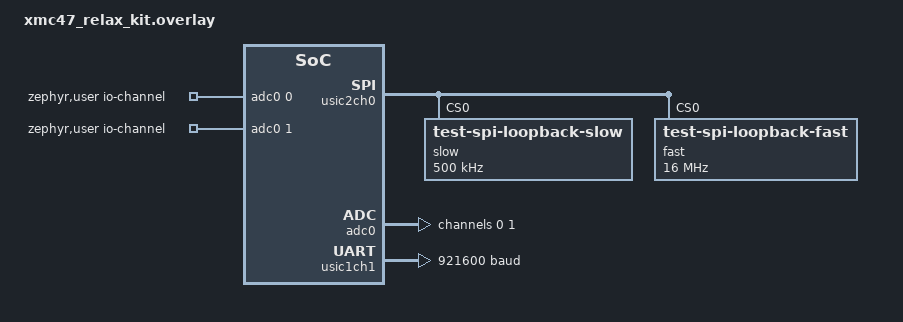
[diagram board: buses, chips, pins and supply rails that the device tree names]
/*
 * Copyright (c) 2025 Andriy Gelman
 *
 * SPDX-License-Identifier: Apache-2.0
 */

tst_dma0: &dma0 {
	status = "okay";
};

&spi_mosi_p3_8_u2c0 {
	drive-strength = "strong-soft-edge";
	drive-push-pull;
	hwctrl = "disabled";
};

&spi_miso_p3_7_u2c0 {
	drive-strength = "strong-soft-edge";
	hwctrl = "disabled";
};

&spi_sclk_p3_9_u2c0 {
	drive-strength = "strong-soft-edge";
	drive-push-pull;
	hwctrl = "disabled";
};

&usic2ch0 {
	compatible = "infineon,xmc4xxx-spi";
	pinctrl-0 = <&spi_mosi_p3_8_u2c0 &spi_miso_p3_7_u2c0 &spi_sclk_p3_9_u2c0>;
	pinctrl-names = "default";
	miso-src = "DX0C";
	interrupts = <96 1>;
	interrupt-names = "rx";
	#address-cells = <1>;
	#size-cells = <0>;
	status = "okay";
	slow@0 {
		compatible = "test-spi-loopback-slow";
		reg = <0>;
		spi-max-frequency = <500000>;
	};
	fast@0 {
		compatible = "test-spi-loopback-fast";
		reg = <0>;
		spi-max-frequency = <16000000>;
	};
};

#include <zephyr/dt-bindings/adc/adc.h>

/ {
	zephyr,user {
		io-channels = <&adc0 0>, <&adc0 1>;
	};
};

&adc0 {
	#address-cells = <1>;
	#size-cells = <0>;
	status = "okay";
	channel@0 {
		reg = <0>;
		zephyr,gain = "ADC_GAIN_1";
		zephyr,reference = "ADC_REF_INTERNAL";
		zephyr,acquisition-time = <ADC_ACQ_TIME_DEFAULT>;
		zephyr,resolution = <12>;
	};
	channel@1 {
		reg = <1>;
		zephyr,gain = "ADC_GAIN_1";
		zephyr,reference = "ADC_REF_INTERNAL";
		zephyr,acquisition-time = <ADC_ACQ_TIME_DEFAULT>;
		zephyr,resolution = <12>;
	};
};

#include <zephyr/dt-bindings/dma/infineon-xmc4xxx-dma.h>

dut: &usic1ch1 {
	compatible = "infineon,xmc4xxx-uart";
	status = "okay";
	/delete-property/ scl-src;
	/delete-property/ sda-src;
	current-speed = <921600>;
	interrupts = <90 1 91 1>;
	interrupt-names = "tx", "rx";
	dmas = <&dma0 2 0 XMC4XXX_SET_CONFIG(1, 11)>, <&dma0 3 0 XMC4XXX_SET_CONFIG(3, 12)>;
	dma-names = "tx", "rx";
	pinctrl-0 = <&uart_tx_p3_15_u1c1 &uart_rx_p3_14_u1c1>;
	pinctrl-names = "default";
	input-src = "DX0G"; //loopback
	fifo-start-offset = <0>;
	fifo-tx-size = <0>;
	fifo-rx-size = <0>;
	data-bits = <8>;
	stop-bits = "1";
};

&uart_tx_p3_15_u1c1 {
	drive-strength = "strong-soft-edge";
	drive-push-pull;
	hwctrl = "disabled";
};

&uart_rx_p3_14_u1c1 {
	drive-strength = "strong-soft-edge";
	hwctrl = "disabled";
};

&dma0 {
	status = "okay";
};
